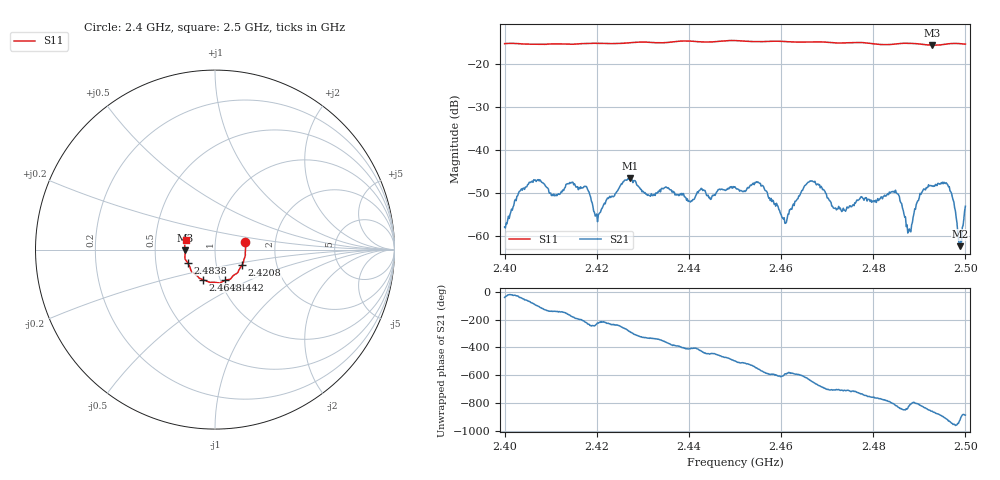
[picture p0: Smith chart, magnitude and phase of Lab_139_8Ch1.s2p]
# Hz S RI R 50
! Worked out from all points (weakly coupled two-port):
!   601 points, 2.4 GHz to 2.5 GHz, reference 50 ohm
!   highest |S21| = -46.41 dB at 2.4272 GHz (marker M1); lowest = -62.3 dB at 2.4988 GHz (marker M2)
!   lowest |S11| = -15.6 dB at 2.4928 GHz (marker M3), VSWR 1.40, Z = 35.8 - j0.352 ohm
!   |S11| at or under -10 dB: start of sweep to end of sweep
!   S12 and S22 are empty: the file has one direction only
!   S11 on the Smith chart (normalised r, x): 2.4 GHz: 1.40, +0.12; 2.4208 GHz: 1.33, -0.24; 2.4442 GHz: 1.05, -0.37; 2.4648 GHz: 0.83, -0.29; 2.4838 GHz: 0.73, -0.11; 2.5 GHz: 0.72, +0.08
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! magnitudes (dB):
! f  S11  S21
! 2.4 GHz  -15.2  -57.8
! 2.4058 GHz  -15.4  -47.3
! 2.4167 GHz  -15.2  -48.8
! 2.4208 GHz  -15.2  -54.3
! 2.4272 GHz  -15.0  -46.4
! 2.4333 GHz  -15.0  -49.5
! 2.4442 GHz  -14.9  -50.4
! 2.45 GHz  -14.5  -48.5
! 2.4555 GHz  -14.8  -47.7
! 2.4608 GHz  -14.8  -57.0
! 2.4648 GHz  -14.9  -48.8
! 2.4667 GHz  -14.8  -47.1
! 2.4735 GHz  -15.1  -53.4
! 2.4833 GHz  -15.5  -50.3
! 2.4838 GHz  -15.4  -49.7
! 2.4853 GHz  -15.3  -50.1
! 2.4877 GHz  -15.2  -58.6
! 2.4905 GHz  -15.4  -49.8
! 2.4928 GHz  -15.6  -48.2
! 2.4963 GHz  -15.3  -48.4
! 2.4988 GHz  -15.3  -62.3
! 2.5 GHz  -15.4  -53.0
